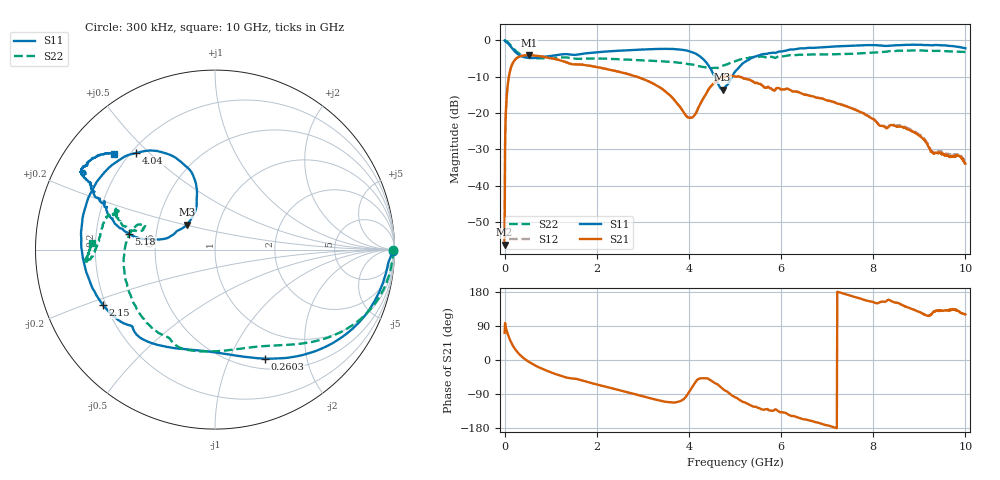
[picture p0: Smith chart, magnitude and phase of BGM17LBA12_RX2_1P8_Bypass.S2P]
!Agilent Technologies,E5071C,MY46316587,B.13.01
!Date: Fri Dec 08 10:54:49 2017
!Data & Calibration Information:
!Freq	S11:SOLT2(ON)	S21:SOLT2(ON)	S12:SOLT2(ON)	S22:SOLT2(ON)
!PortZ  Port1:50+j0  Port2:50+j0
!Above PortZ is port z conversion or system Z0 setting when saving the data.
!When reading, reference impedance value at option line is always used.
# Hz S dB R 50
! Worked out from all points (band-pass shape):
!   1001 points, 300 kHz to 10 GHz, reference 50 ohm
!   highest |S21| = -4.10 dB at 530.3 MHz (marker M1); lowest = -56.3 dB at 300 kHz (marker M2)
!   |S21| within 3 dB of the highest: 149.6 MHz to 1.883 GHz (1.733 GHz wide, 171 % of centre)
!   lowest |S11| = -13.6 dB at 4.73 GHz (marker M3), VSWR 1.53, Z = 35.3 + j10.3 ohm
!   |S11| at or under -10 dB: 4.557 GHz to 4.935 GHz (377.8 MHz wide, 7.96 % of centre)
!   |S22| runs from -7.7 to -0.1 dB; largest |S21 - S12| = 0.0036
!   S11 on the Smith chart (normalised r, x): 300 kHz: open; 260.3 MHz: 0.62, -1.36; 2.15 GHz: 0.19, -0.23; 4.04 GHz: 0.22, +0.46; 5.18 GHz: 0.35, +0.08; 10 GHz: 0.15, +0.39
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300000  -0.07 -0.4  -56.32 71.7  -56.70 133.3  -0.05 -0.1
6.02982e7  -0.69 -21.1  -13.29 71.4  -13.19 71.4  -0.42 -16.1
7.02979e7  -0.82 -24.3  -12.08 67.8  -12.02 67.8  -0.52 -18.5
1.402958e8  -1.86 -43.4  -7.46 47.0  -7.41 46.9  -1.51 -33.0
2.602922e8  -3.51 -65.5  -4.96 23.4  -4.93 23.2  -3.14 -49.0
5.302841e8  -4.89 -92.4  -4.10 -5.2  -4.09 -5.3  -4.73 -70.0
1.030269e9  -4.24 -119.2  -5.00 -33.7  -4.97 -33.9  -4.86 -96.8
1.67025e9  -3.78 -139.9  -6.71 -53.5  -6.65 -53.4  -5.09 -119.5
2.150236e9  -3.14 -153.7  -7.77 -69.2  -7.76 -69.0  -5.08 -132.7
3.3402e9  -2.39 164.3  -12.76 -106.2  -12.76 -105.8  -5.77 -169.9
4.040179e9  -3.17 129.1  -21.36 -77.7  -21.21 -77.6  -6.61 165.1
4.460166e9  -7.64 106.2  -12.95 -52.8  -12.95 -52.7  -7.69 162.0
4.730158e9  -13.60 138.0  -10.14 -75.7  -10.15 -75.7  -7.03 166.8
5.00015e9  -8.68 170.9  -9.94 -98.1  -9.91 -98.0  -5.77 165.7
5.180145e9  -6.24 169.6  -10.48 -111.1  -10.45 -110.9  -5.09 162.7
5.580133e9  -3.90 160.6  -12.36 -130.1  -12.31 -130.2  -4.48 158.2
6.6701e9  -2.11 151.8  -15.39 -161.1  -15.30 -160.9  -3.91 165.2
8.34005e9  -1.52 150.2  -23.74 158.7  -23.51 158.9  -3.01 -175.7
8.730038e9  -1.26 149.9  -24.47 139.3  -24.14 139.2  -2.83 -174.9
9.050028e9  -1.26 147.6  -26.74 123.8  -26.46 123.3  -2.80 -175.8
9.290021e9  -1.37 146.4  -30.84 124.8  -30.80 122.4  -2.92 -175.9
1e10  -2.21 136.7  -33.97 120.6  -33.55 119.9  -3.27 177.0
